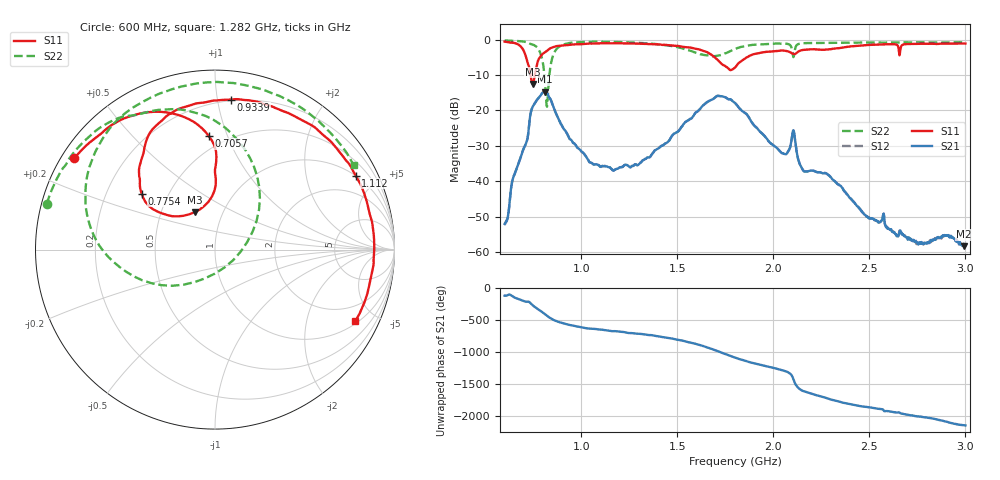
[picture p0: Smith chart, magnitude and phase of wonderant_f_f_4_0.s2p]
#  HZ  S  RI  R  50.00
! Rohde & Schwarz ZVB8 2Ports - Version 2.81 - 1145.1010k08 SN: 100113
! Date: 2016-05-17 22:37:39
! Measurements: S11 S21 S12 S22
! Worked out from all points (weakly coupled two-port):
!   1000 points, 600 MHz to 3 GHz, reference 50 ohm
!   highest |S21| = -14.67 dB at 811.4 MHz (marker M1); lowest = -58.3 dB at 2.993 GHz (marker M2)
!   lowest |S11| = -12.5 dB at 746.5 MHz (marker M3), VSWR 1.62, Z = 36.8 + j16.3 ohm
!   |S11| at or under -10 dB: 735.4 MHz to 757.5 MHz (22.04 MHz wide, 2.95 % of centre)
!   |S22| runs from -18.9 to -0.2 dB; largest |S21 - S12| = 0.0021
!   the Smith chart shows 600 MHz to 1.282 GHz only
!   S11 on the Smith chart (normalised r, x): 600 MHz: 0.04, +0.30; 705.7 MHz: 0.41, +0.86; 775.4 MHz: 0.35, +0.30; 933.9 MHz: 0.19, +1.09; 1.112 GHz: 1.00, +3.80; 1.282 GHz: 1.11, -3.87
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6e8  -0.7839 0.5082  -0.00121 -0.0022  -0.0012 -0.00222  -0.9378 0.2548
7.057057e8  -0.0347 0.6328  -0.028 0.0145  -0.0279 0.0147  -0.6285 0.6863
7.465465e8  -0.1126 0.2084  -0.0015 0.1134  -0.00172 0.1134  -0.3566 0.7713
7.753754e8  -0.4087 0.3116  0.1305 0.0693  0.131 0.0711  -0.0491 0.7432
8.114114e8  -0.4001 0.5323  0.1162 -0.1436  0.116 -0.1441  0.2097 0.1002
8.33033e8  -0.3674 0.6422  -0.023 -0.1504  -0.0232 -0.1499  -0.2383 -0.2017
8.618619e8  -0.2506 0.7568  -0.0831 -0.0554  -0.083 -0.0554  -0.6769 0.0821
9.339339e8  0.0895 0.8357  -0.0355 0.0229  -0.0354 0.0227  -0.597 0.6607
1.001201e9  0.3998 0.7642  -0.008 0.025  -0.00801 0.0249  -0.3152 0.8665
1.111712e9  0.7832 0.4125  0.00615 0.0153  0.00601 0.0153  0.1682 0.9163
1.282282e9  0.7824 -0.3984  0.0172 0.00292  0.0172 0.003  0.7726 0.47
1.4e9  0.3492 -0.7806  0.0243 -0.0159  0.0243 -0.0159  0.8507 -0.1047
1.616216e9  -0.5851 -0.4212  -0.1015 -0.0218  -0.1014 -0.0221  0.1282 -0.6122
1.801201e9  -0.4047 -0.031  0.1262 -0.0141  0.126 -0.0137  -0.3393 -0.6556
1.902102e9  -0.5346 0.3266  -0.00565 -0.0603  -0.0053 -0.0602  -0.7585 -0.3802
2.027027e9  0.0233 0.6943  -0.0277 0.00303  -0.0278 0.00302  -0.8556 0.208
2.103904e9  0.4046 0.4794  0.0495 0.0182  0.0493 0.0182  -0.4593 0.3294
2.2e9  0.7274 0.079  -0.0123 0.00704  -0.0123 0.00696  -0.5005 0.7421
2.406607e9  0.2211 -0.772  0.00535 -0.00148  0.00535 -0.00144  0.2764 0.8627
2.601201e9  -0.6 -0.6186  -0.00117 -0.00181  -0.0011 -0.00176  0.811 0.4132
2.992793e9  -0.6691 0.5697  0.00115 0.000404  0.00123 0.000457  0.5524 -0.7283
3e9  -0.6528 0.5868  0.0012 0.000347  0.00124 0.000399  0.5372 -0.74
